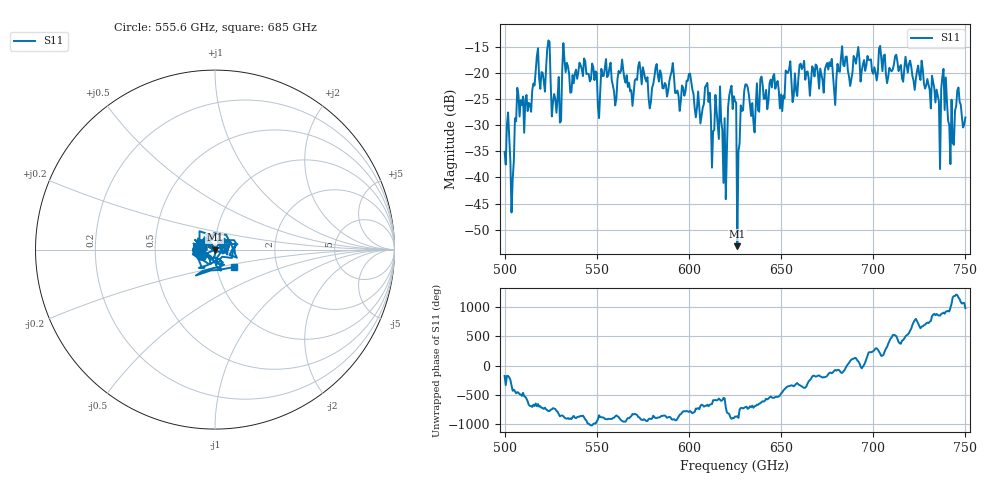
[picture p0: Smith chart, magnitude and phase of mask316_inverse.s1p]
!Created with skrf (http://scikit-rf.org).
# GHz S MA R 50.0
!freq magS11 angS11
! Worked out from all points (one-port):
!   401 points, 500 GHz to 750 GHz, reference 50 ohm
!   lowest |S11| = -53.1 dB at 626.2 GHz (marker M1), VSWR 1.00, Z = 49.8 - j0.112 ohm
!   |S11| at or under -10 dB: start of sweep to end of sweep
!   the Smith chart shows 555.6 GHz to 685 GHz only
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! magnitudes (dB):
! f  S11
! 500 GHz  -35.1
! 503.8 GHz  -46.7
! 506.9 GHz  -22.9
! 513.8 GHz  -26.0
! 516.9 GHz  -19.5
! 523.8 GHz  -13.8
! 526.9 GHz  -24.0
! 531.2 GHz  -19.5
! 533.1 GHz  -19.9
! 550.6 GHz  -26.4
! 562.5 GHz  -20.1
! 593.8 GHz  -23.4
! 610 GHz  -21.9
! 619.4 GHz  -28.7
! 623.1 GHz  -22.5
! 625 GHz  -25.4
! 626.2 GHz  -53.1
! 631.2 GHz  -22.2
! 635 GHz  -29.4
! 640 GHz  -22.3
! 656.2 GHz  -25.6
! 687.5 GHz  -22.5
! 718.8 GHz  -20.0
! 735 GHz  -24.4
! 738.1 GHz  -19.3
! 742.5 GHz  -25.1
! 745.6 GHz  -23.3
! 750 GHz  -28.5
